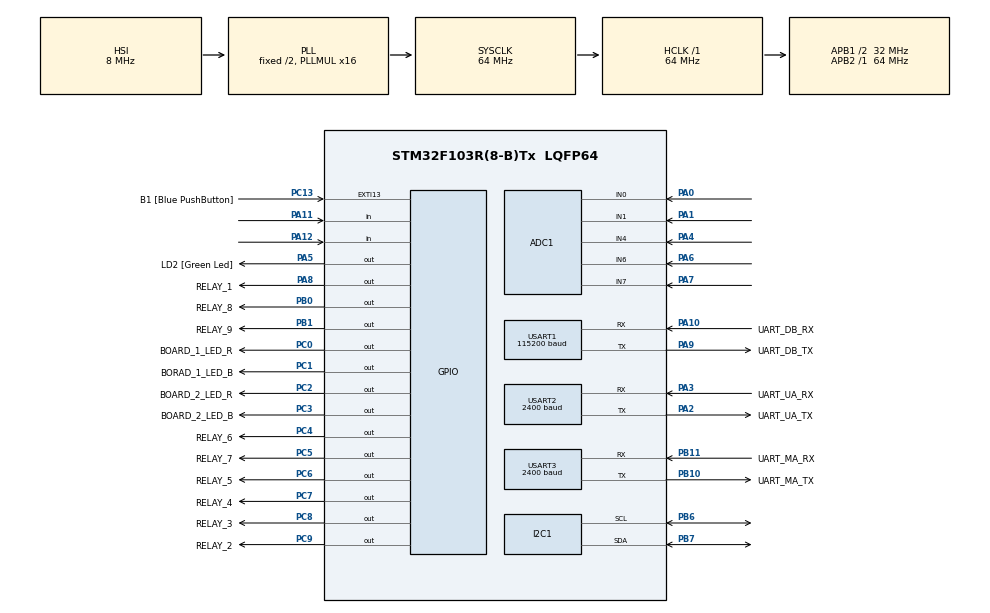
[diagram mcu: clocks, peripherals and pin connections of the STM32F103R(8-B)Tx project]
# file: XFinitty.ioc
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ADC1.Channel-0\#ChannelRegularConversion=ADC_CHANNEL_0
ADC1.Channel-5\#ChannelRegularConversion=ADC_CHANNEL_1
ADC1.Channel-6\#ChannelRegularConversion=ADC_CHANNEL_TEMPSENSOR
ADC1.Channel-7\#ChannelRegularConversion=ADC_CHANNEL_VREFINT
ADC1.ContinuousConvMode=DISABLE
ADC1.DataAlign=ADC_DATAALIGN_RIGHT
ADC1.DiscontinuousConvMode=DISABLE
ADC1.EnableAnalogWatchDog=false
ADC1.EnableRegularConversion=ENABLE
ADC1.ExternalTrigConv=ADC_SOFTWARE_START
ADC1.InjNumberOfConversion=0
ADC1.NbrOfConversion=4
ADC1.NbrOfConversionFlag=1
ADC1.Rank-0\#ChannelRegularConversion=1
ADC1.Rank-5\#ChannelRegularConversion=2
ADC1.Rank-6\#ChannelRegularConversion=3
ADC1.Rank-7\#ChannelRegularConversion=4
ADC1.SamplingTime-0\#ChannelRegularConversion=ADC_SAMPLETIME_7CYCLES_5
ADC1.SamplingTime-5\#ChannelRegularConversion=ADC_SAMPLETIME_7CYCLES_5
ADC1.SamplingTime-6\#ChannelRegularConversion=ADC_SAMPLETIME_7CYCLES_5
ADC1.SamplingTime-7\#ChannelRegularConversion=ADC_SAMPLETIME_7CYCLES_5
ADC1.ScanConvMode=ADC_SCAN_ENABLE
ADC1.master=1
Dma.ADC1.1.Direction=DMA_PERIPH_TO_MEMORY
Dma.ADC1.1.Instance=DMA1_Channel1
Dma.ADC1.1.MemDataAlignment=DMA_MDATAALIGN_HALFWORD
Dma.ADC1.1.MemInc=DMA_MINC_ENABLE
Dma.ADC1.1.Mode=DMA_NORMAL
Dma.ADC1.1.PeriphDataAlignment=DMA_PDATAALIGN_HALFWORD
Dma.ADC1.1.PeriphInc=DMA_PINC_DISABLE
Dma.ADC1.1.Priority=DMA_PRIORITY_LOW
Dma.Request0=USART1_TX
Dma.Request1=ADC1
Dma.Request2=USART3_RX
Dma.Request3=USART2_RX
Dma.USART1_TX.0.Direction=DMA_MEMORY_TO_PERIPH
Dma.USART1_TX.0.Instance=DMA1_Channel4
Dma.USART1_TX.0.MemDataAlignment=DMA_MDATAALIGN_BYTE
Dma.USART1_TX.0.MemInc=DMA_MINC_ENABLE
Dma.USART1_TX.0.Mode=DMA_NORMAL
Dma.USART1_TX.0.PeriphDataAlignment=DMA_PDATAALIGN_BYTE
Dma.USART1_TX.0.PeriphInc=DMA_PINC_DISABLE
Dma.USART1_TX.0.Priority=DMA_PRIORITY_LOW
Dma.USART2_RX.3.Direction=DMA_PERIPH_TO_MEMORY
Dma.USART2_RX.3.Instance=DMA1_Channel6
Dma.USART2_RX.3.MemDataAlignment=DMA_MDATAALIGN_BYTE
Dma.USART2_RX.3.MemInc=DMA_MINC_ENABLE
Dma.USART2_RX.3.Mode=DMA_NORMAL
Dma.USART2_RX.3.PeriphDataAlignment=DMA_PDATAALIGN_BYTE
Dma.USART2_RX.3.PeriphInc=DMA_PINC_DISABLE
Dma.USART2_RX.3.Priority=DMA_PRIORITY_LOW
Dma.USART3_RX.2.Direction=DMA_PERIPH_TO_MEMORY
Dma.USART3_RX.2.Instance=DMA1_Channel3
Dma.USART3_RX.2.MemDataAlignment=DMA_MDATAALIGN_BYTE
Dma.USART3_RX.2.MemInc=DMA_MINC_ENABLE
Dma.USART3_RX.2.Mode=DMA_NORMAL
Dma.USART3_RX.2.PeriphDataAlignment=DMA_PDATAALIGN_BYTE
Dma.USART3_RX.2.PeriphInc=DMA_PINC_DISABLE
Dma.USART3_RX.2.Priority=DMA_PRIORITY_LOW
FREERTOS.INCLUDE_vTaskDelayUntil=1
FREERTOS.Tasks01=defaultTask,-2,128,StartDefaultTask,Default,NULL,Dynamic,NULL,NULL;GetLightTask,0,128,StartGetLightTask,Default,NULL,Dynamic,NULL,NULL;PrintfTask,0,128,StartPrintfTask,Default,NULL,Dynamic,NULL,NULL;GetAdcTask,0,128,StartGetAdcTask,Default,NULL,Dynamic,NULL,NULL
FREERTOS.Timers01=LedFlashing,LedFlashingCallbac,osTimerPeriodic,Default,NULL,Dynamic,NULL;S1Delay,S1DelayCallback,osTimerOnce,Default,NULL,Dynamic,NULL
FREERTOS.configTOTAL_HEAP_SIZE=10000
FREERTOS.configUSE_TIMERS=1
Mcu.Family=STM32F1
Mcu.Name=STM32F103R(8-B)Tx
Mcu.Package=LQFP64
NVIC.ADC1_2_IRQn=true\:10\:0\:true\:false\:true\:true\:true
NVIC.DMA1_Channel1_IRQn=true\:8\:0\:true\:false\:true\:true\:false
NVIC.DMA1_Channel3_IRQn=true\:5\:0\:false\:false\:true\:true\:false
NVIC.DMA1_Channel4_IRQn=true\:8\:0\:true\:false\:true\:true\:false
NVIC.DMA1_Channel6_IRQn=true\:5\:0\:false\:false\:true\:true\:false
NVIC.EXTI15_10_IRQn=true\:5\:0\:false\:false\:true\:true\:true
NVIC.I2C1_ER_IRQn=true\:10\:0\:true\:false\:true\:true\:true
NVIC.I2C1_EV_IRQn=true\:10\:0\:true\:false\:true\:true\:true
NVIC.PriorityGroup=NVIC_PRIORITYGROUP_4
NVIC.TIM1_UP_IRQn=true\:0\:0\:false\:false\:true\:false\:false
NVIC.TimeBase=TIM1_UP_IRQn
NVIC.TimeBaseIP=TIM1
NVIC.USART1_IRQn=true\:12\:0\:true\:false\:true\:true\:true
NVIC.USART2_IRQn=true\:5\:0\:false\:false\:true\:true\:true
NVIC.USART3_IRQn=true\:5\:0\:false\:false\:true\:true\:true
PA0-WKUP.Signal=ADCx_IN0
PA1.Signal=ADCx_IN1
PA10.GPIO_Label=UART_DB_RX
PA10.Mode=Asynchronous
PA10.Signal=USART1_RX
PA11.Signal=GPIO_Input
PA12.Signal=GPIO_Input
PA13.GPIO_Label=TMS
PA13.Mode=Trace_Asynchronous_SW
PA13.Signal=SYS_JTMS-SWDIO
PA14.GPIO_Label=TCK
PA14.Mode=Trace_Asynchronous_SW
PA14.Signal=SYS_JTCK-SWCLK
PA2.GPIO_Label=UART_UA_TX
PA2.GPIO_Mode=GPIO_MODE_AF_PP
PA2.GPIO_PuPd=GPIO_NOPULL
PA2.GPIO_Speed=GPIO_SPEED_FREQ_HIGH
PA2.Mode=Asynchronous
PA2.Signal=USART2_TX
PA3.GPIO_Label=UART_UA_RX
PA3.GPIO_Mode=GPIO_MODE_INPUT
PA3.GPIO_PuPd=GPIO_NOPULL
PA3.GPIO_Speed=GPIO_SPEED_FREQ_LOW
PA3.Mode=Asynchronous
PA3.Signal=USART2_RX
PA4.Signal=ADCx_IN4
PA5.GPIO_Label=LD2 [Green Led]
PA5.GPIO_ModeDefaultOutputPP=GPIO_MODE_OUTPUT_PP
PA5.GPIO_PuPd=GPIO_NOPULL
PA5.GPIO_Speed=GPIO_SPEED_FREQ_LOW
PA5.Signal=GPIO_Output
PA6.Signal=ADCx_IN6
PA7.Signal=ADCx_IN7
PA8.GPIO_Label=RELAY_1
PA8.Signal=GPIO_Output
PA9.GPIO_Label=UART_DB_TX
PA9.Mode=Asynchronous
PA9.Signal=USART1_TX
PB0.GPIO_Label=RELAY_8
PB0.Signal=GPIO_Output
PB1.GPIO_Label=RELAY_9
PB1.Signal=GPIO_Output
PB10.GPIO_Label=UART_MA_TX
PB10.Mode=Asynchronous
PB10.Signal=USART3_TX
PB11.GPIO_Label=UART_MA_RX
PB11.Mode=Asynchronous
PB11.Signal=USART3_RX
PB3.GPIO_Label=SWO
PB3.Mode=Trace_Asynchronous_SW
PB3.Signal=SYS_JTDO-TRACESWO
PB6.Mode=I2C
PB6.Signal=I2C1_SCL
PB7.Mode=I2C
PB7.Signal=I2C1_SDA
PC0.GPIO_Label=BOARD_1_LED_R
PC0.GPIO_PuPd=GPIO_NOPULL
PC0.PinState=GPIO_PIN_SET
PC0.Signal=GPIO_Output
PC1.GPIO_Label=BORAD_1_LED_B
PC1.GPIO_PuPd=GPIO_NOPULL
PC1.PinState=GPIO_PIN_SET
PC1.Signal=GPIO_Output
PC13-TAMPER-RTC.GPIO_Label=B1 [Blue PushButton]
PC13-TAMPER-RTC.GPIO_PuPd=GPIO_NOPULL
PC13-TAMPER-RTC.Signal=GPXTI13
PC14-OSC32_IN.Mode=LSE-External-Oscillator
PC14-OSC32_IN.Signal=RCC_OSC32_IN
PC15-OSC32_OUT.Mode=LSE-External-Oscillator
PC15-OSC32_OUT.Signal=RCC_OSC32_OUT
PC2.GPIO_Label=BOARD_2_LED_R
PC2.GPIO_PuPd=GPIO_NOPULL
PC2.PinState=GPIO_PIN_SET
PC2.Signal=GPIO_Output
PC3.GPIO_Label=BOARD_2_LED_B
PC3.GPIO_PuPd=GPIO_NOPULL
PC3.PinState=GPIO_PIN_SET
PC3.Signal=GPIO_Output
PC4.GPIO_Label=RELAY_6
PC4.Signal=GPIO_Output
PC5.GPIO_Label=RELAY_7
PC5.Signal=GPIO_Output
PC6.GPIO_Label=RELAY_5
PC6.Signal=GPIO_Output
PC7.GPIO_Label=RELAY_4
PC7.Signal=GPIO_Output
PC8.GPIO_Label=RELAY_3
PC8.Signal=GPIO_Output
PC9.GPIO_Label=RELAY_2
PC9.Signal=GPIO_Output
PD0-OSC_IN.Mode=HSE-External-Clock-Source
PD0-OSC_IN.Signal=RCC_OSC_IN
PD1-OSC_OUT.Mode=HSE-External-Clock-Source
PD1-OSC_OUT.Signal=RCC_OSC_OUT
ProjectManager.HeapSize=0x200
ProjectManager.StackSize=0x400
ProjectManager.TargetToolchain=TrueSTUDIO
RCC.ADCPresc=RCC_ADCPCLK2_DIV8
RCC.AHBFreq_Value=64000000
RCC.APB1CLKDivider=RCC_HCLK_DIV2
RCC.APB1Freq_Value=32000000
RCC.APB1TimFreq_Value=64000000
RCC.APB2Freq_Value=64000000
RCC.APB2TimFreq_Value=64000000
RCC.HCLKFreq_Value=64000000
RCC.PLLMUL=RCC_PLL_MUL16
RCC.RTCClockSelection=RCC_RTCCLKSOURCE_LSE
RCC.SYSCLKFreq_VALUE=64000000
RCC.SYSCLKSource=RCC_SYSCLKSOURCE_PLLCLK
RCC.USBFreq_Value=64000000
SH.ADCx_IN0.0=ADC1_IN0,IN0
SH.ADCx_IN1.0=ADC1_IN1,IN1
SH.ADCx_IN4.0=ADC1_IN4,IN4
SH.ADCx_IN6.0=ADC1_IN6,IN6
SH.ADCx_IN7.0=ADC1_IN7,IN7
USART1.BaudRate=115200
USART1.VirtualMode=VM_ASYNC
USART2.BaudRate=2400
USART2.Mode=MODE_TX_RX
USART2.VirtualMode=VM_ASYNC
USART3.BaudRate=2400
USART3.Mode=MODE_TX_RX
USART3.VirtualMode=VM_ASYNC
VP_ADC1_TempSens_Input.Mode=IN-TempSens
VP_ADC1_Vref_Input.Mode=IN-Vrefint
VP_FREERTOS_VS_ENABLE.Mode=Enabled
VP_SYS_VS_tim1.Mode=TIM1
board=NUCLEO-F103RB

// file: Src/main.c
/**
  ******************************************************************************
  * @file           : main.c
  * @brief          : Main program body
  ******************************************************************************
  * This notice applies to any and all portions of this file
  * that are not between comment pairs USER CODE BEGIN and
  * USER CODE END. Other portions of this file, whether
  * inserted by the user or by software development tools
  * are owned by their respective copyright owners.
  *
  * Copyright (c) 2018 STMicroelectronics International N.V.
  * All rights reserved.
  *
  * Redistribution and use in source and binary forms, with or without
  * modification, are permitted, provided that the following conditions are met:
  *
  * 1. Redistribution of source code must retain the above copyright notice,
  *    this list of conditions and the following disclaimer.
  * 2. Redistributions in binary form must reproduce the above copyright notice,
  *    this list of conditions and the following disclaimer in the documentation
  *    and/or other materials provided with the distribution.
  * 3. Neither the name of STMicroelectronics nor the names of other
  *    contributors to this software may be used to endorse or promote products
  *    derived from this software without specific written permission.
  * 4. This software, including modifications and/or derivative works of this
  *    software, must execute solely and exclusively on microcontroller or
  *    microprocessor devices manufactured by or for STMicroelectronics.
  * 5. Redistribution and use of this software other than as permitted under
  *    this license is void and will automatically terminate your rights under
  *    this license.
  *
  * THIS SOFTWARE IS PROVIDED BY STMICROELECTRONICS AND CONTRIBUTORS "AS IS"
  * AND ANY EXPRESS, IMPLIED OR STATUTORY WARRANTIES, INCLUDING, BUT NOT
  * LIMITED TO, THE IMPLIED WARRANTIES OF MERCHANTABILITY, FITNESS FOR A
  * PARTICULAR PURPOSE AND NON-INFRINGEMENT OF THIRD PARTY INTELLECTUAL PROPERTY
  * RIGHTS ARE DISCLAIMED TO THE FULLEST EXTENT PERMITTED BY LAW. IN NO EVENT
  * SHALL STMICROELECTRONICS OR CONTRIBUTORS BE LIABLE FOR ANY DIRECT, INDIRECT,
  * INCIDENTAL, SPECIAL, EXEMPLARY, OR CONSEQUENTIAL DAMAGES (INCLUDING, BUT NOT
  * LIMITED TO, PROCUREMENT OF SUBSTITUTE GOODS OR SERVICES; LOSS OF USE, DATA,
  * OR PROFITS; OR BUSINESS INTERRUPTION) HOWEVER CAUSED AND ON ANY THEORY OF
  * LIABILITY, WHETHER IN CONTRACT, STRICT LIABILITY, OR TORT (INCLUDING
  * NEGLIGENCE OR OTHERWISE) ARISING IN ANY WAY OUT OF THE USE OF THIS SOFTWARE,
  * EVEN IF ADVISED OF THE POSSIBILITY OF SUCH DAMAGE.
  *
  ******************************************************************************
  */
#include "main.h"
#include "stm32f1xx_hal.h"
#include "cmsis_os.h"

/* USER CODE BEGIN Includes */
#include "ut61c.h"
#include "xfinitty.h"
#include "bsp.h"
#include "tsl2561.h"
#include "adc_led.h"
#include "indicator.h"

/* USER CODE END Includes */

ADC_HandleTypeDef hadc1;
DMA_HandleTypeDef hdma_adc1;

I2C_HandleTypeDef hi2c1;

UART_HandleTypeDef huart1;
UART_HandleTypeDef huart2;
UART_HandleTypeDef huart3;
DMA_HandleTypeDef hdma_usart1_tx;
DMA_HandleTypeDef hdma_usart2_rx;
DMA_HandleTypeDef hdma_usart3_rx;

osThreadId defaultTaskHandle;
osThreadId GetLightTaskHandle;
osThreadId PrintfTaskHandle;
osThreadId GetAdcTaskHandle;
osTimerId LedFlashingHandle;
osTimerId S1DelayHandle;

/* USER CODE BEGIN PV */
/* Private variables ---------------------------------------------------------*/

/* USER CODE END PV */

void SystemClock_Config(void);
static void MX_GPIO_Init(void);
static void MX_DMA_Init(void);
static void MX_ADC1_Init(void);
static void MX_I2C1_Init(void);
static void MX_USART1_UART_Init(void);
static void MX_USART2_UART_Init(void);
static void MX_USART3_UART_Init(void);
void StartDefaultTask(void const * argument);
void StartGetLightTask(void const * argument);
void StartPrintfTask(void const * argument);
void StartGetAdcTask(void const * argument);
void LedFlashingCallbac(void const * argument);
void S1DelayCallback(void const * argument);

/* USER CODE BEGIN PFP */
/* Private function prototypes -----------------------------------------------*/

/* USER CODE END PFP */

int main(void)
{

  /* MCU Configuration----------------------------------------------------------*/

  /* Reset of all peripherals, Initializes the Flash interface and the Systick. */
  HAL_Init();

  /* Configure the system clock */
  SystemClock_Config();

  /* Initialize all configured peripherals */
  MX_GPIO_Init();
  MX_DMA_Init();
  MX_ADC1_Init();
  MX_I2C1_Init();
  MX_USART1_UART_Init();
  MX_USART2_UART_Init();
  MX_USART3_UART_Init();
  /* USER CODE BEGIN 2 */
//  led_t *led_board1;
//  led_board1 = GetBoard1Led();
//  uint8_t temp2, temp3;
  InitXFinitty();
  InitUT61C();
  InitLeds();
  InitTSL2561();
  InitAdcLed();
  printf("System start.\n");
  // HAL_UART_Receive_IT(&huart2, &temp2, 1);
  // HAL_UART_Receive_IT(&huart3, &temp3, 1);

  // uint8_t sendingData[] = "uart2";
  // HAL_UART_Transmit_DMA(&huart2, sendingData, 6);
  // uint8_t sendingData2[] = "uart3";
  // HAL_UART_Transmit(&huart3, sendingData2, 6, 0xffffffff);
  /* USER CODE END 2 */

  /* Create the timer(s) */
  /* definition and creation of LedFlashing */
  osTimerDef(LedFlashing, LedFlashingCallbac);
  LedFlashingHandle = osTimerCreate(osTimer(LedFlashing), osTimerPeriodic, NULL);

  /* definition and creation of S1Delay */
  osTimerDef(S1Delay, S1DelayCallback);
  S1DelayHandle = osTimerCreate(osTimer(S1Delay), osTimerOnce, NULL);

  /* Create the thread(s) */
  /* definition and creation of defaultTask */
  osThreadDef(defaultTask, StartDefaultTask, osPriorityLow, 0, 128);
  defaultTaskHandle = osThreadCreate(osThread(defaultTask), NULL);

  /* definition and creation of GetLightTask */
  osThreadDef(GetLightTask, StartGetLightTask, osPriorityNormal, 0, 128);
  GetLightTaskHandle = osThreadCreate(osThread(GetLightTask), NULL);

  /* definition and creation of PrintfTask */
  osThreadDef(PrintfTask, StartPrintfTask, osPriorityNormal, 0, 128);
  PrintfTaskHandle = osThreadCreate(osThread(PrintfTask), NULL);

  /* definition and creation of GetAdcTask */
  osThreadDef(GetAdcTask, StartGetAdcTask, osPriorityNormal, 0, 128);
  GetAdcTaskHandle = osThreadCreate(osThread(GetAdcTask), NULL);

  /* Start scheduler */
  osKernelStart();

  /* We should never get here as control is now taken by the scheduler */

  /* Infinite loop */
  while (1)
  {

  }

}

void SystemClock_Config(void)
{

  RCC_OscInitTypeDef RCC_OscInitStruct;
  RCC_ClkInitTypeDef RCC_ClkInitStruct;
  RCC_PeriphCLKInitTypeDef PeriphClkInit;

    /**Initializes the CPU, AHB and APB busses clocks
    */
  RCC_OscInitStruct.OscillatorType = RCC_OSCILLATORTYPE_HSI;
  RCC_OscInitStruct.HSIState = RCC_HSI_ON;
  RCC_OscInitStruct.HSICalibrationValue = 16;
  RCC_OscInitStruct.PLL.PLLState = RCC_PLL_ON;
  RCC_OscInitStruct.PLL.PLLSource = RCC_PLLSOURCE_HSI_DIV2;
  RCC_OscInitStruct.PLL.PLLMUL = RCC_PLL_MUL16;
  if (HAL_RCC_OscConfig(&RCC_OscInitStruct) != HAL_OK)
  {
    _Error_Handler(__FILE__, __LINE__);
  }

    /**Initializes the CPU, AHB and APB busses clocks
    */
  RCC_ClkInitStruct.ClockType = RCC_CLOCKTYPE_HCLK|RCC_CLOCKTYPE_SYSCLK
                              |RCC_CLOCKTYPE_PCLK1|RCC_CLOCKTYPE_PCLK2;
  RCC_ClkInitStruct.SYSCLKSource = RCC_SYSCLKSOURCE_PLLCLK;
  RCC_ClkInitStruct.AHBCLKDivider = RCC_SYSCLK_DIV1;
  RCC_ClkInitStruct.APB1CLKDivider = RCC_HCLK_DIV2;
  RCC_ClkInitStruct.APB2CLKDivider = RCC_HCLK_DIV1;

  if (HAL_RCC_ClockConfig(&RCC_ClkInitStruct, FLASH_LATENCY_2) != HAL_OK)
  {
    _Error_Handler(__FILE__, __LINE__);
  }

  PeriphClkInit.PeriphClockSelection = RCC_PERIPHCLK_ADC;
  PeriphClkInit.AdcClockSelection = RCC_ADCPCLK2_DIV8;
  if (HAL_RCCEx_PeriphCLKConfig(&PeriphClkInit) != HAL_OK)
  {
    _Error_Handler(__FILE__, __LINE__);
  }

    /**Configure the Systick interrupt time
    */
  HAL_SYSTICK_Config(HAL_RCC_GetHCLKFreq()/1000);

    /**Configure the Systick
    */
  HAL_SYSTICK_CLKSourceConfig(SYSTICK_CLKSOURCE_HCLK);

  /* SysTick_IRQn interrupt configuration */
  HAL_NVIC_SetPriority(SysTick_IRQn, 15, 0);
}

/* ADC1 init function */
static void MX_ADC1_Init(void)
{

  ADC_ChannelConfTypeDef sConfig;

    /**Common config
    */
  hadc1.Instance = ADC1;
  hadc1.Init.ScanConvMode = ADC_SCAN_ENABLE;
  hadc1.Init.ContinuousConvMode = DISABLE;
  hadc1.Init.DiscontinuousConvMode = DISABLE;
  hadc1.Init.ExternalTrigConv = ADC_SOFTWARE_START;
  hadc1.Init.DataAlign = ADC_DATAALIGN_RIGHT;
  hadc1.Init.NbrOfConversion = 4;
  if (HAL_ADC_Init(&hadc1) != HAL_OK)
  {
    _Error_Handler(__FILE__, __LINE__);
  }

    /**Configure Regular Channel
    */
  sConfig.Channel = ADC_CHANNEL_0;
  sConfig.Rank = ADC_REGULAR_RANK_1;
  sConfig.SamplingTime = ADC_SAMPLETIME_7CYCLES_5;
  if (HAL_ADC_ConfigChannel(&hadc1, &sConfig) != HAL_OK)
  {
    _Error_Handler(__FILE__, __LINE__);
  }

    /**Configure Regular Channel
    */
  sConfig.Channel = ADC_CHANNEL_1;
  sConfig.Rank = ADC_REGULAR_RANK_2;
  if (HAL_ADC_ConfigChannel(&hadc1, &sConfig) != HAL_OK)
  {
    _Error_Handler(__FILE__, __LINE__);
  }

    /**Configure Regular Channel
    */
  sConfig.Channel = ADC_CHANNEL_TEMPSENSOR;
  sConfig.Rank = ADC_REGULAR_RANK_3;
  if (HAL_ADC_ConfigChannel(&hadc1, &sConfig) != HAL_OK)
  {
    _Error_Handler(__FILE__, __LINE__);
  }

    /**Configure Regular Channel
    */
  sConfig.Channel = ADC_CHANNEL_VREFINT;
  sConfig.Rank = ADC_REGULAR_RANK_4;
  if (HAL_ADC_ConfigChannel(&hadc1, &sConfig) != HAL_OK)
  {
    _Error_Handler(__FILE__, __LINE__);
  }

}

/* I2C1 init function */
static void MX_I2C1_Init(void)
{

  hi2c1.Instance = I2C1;
  hi2c1.Init.ClockSpeed = 100000;
  hi2c1.Init.DutyCycle = I2C_DUTYCYCLE_2;
  hi2c1.Init.OwnAddress1 = 0;
  hi2c1.Init.AddressingMode = I2C_ADDRESSINGMODE_7BIT;
  hi2c1.Init.DualAddressMode = I2C_DUALADDRESS_DISABLE;
  hi2c1.Init.OwnAddress2 = 0;
  hi2c1.Init.GeneralCallMode = I2C_GENERALCALL_DISABLE;
  hi2c1.Init.NoStretchMode = I2C_NOSTRETCH_DISABLE;
  if (HAL_I2C_Init(&hi2c1) != HAL_OK)
  {
    _Error_Handler(__FILE__, __LINE__);
  }

}

/* USART1 init function */
static void MX_USART1_UART_Init(void)
{

  huart1.Instance = USART1;
  huart1.Init.BaudRate = 115200;
  huart1.Init.WordLength = UART_WORDLENGTH_8B;
  huart1.Init.StopBits = UART_STOPBITS_1;
  huart1.Init.Parity = UART_PARITY_NONE;
  huart1.Init.Mode = UART_MODE_TX_RX;
  huart1.Init.HwFlowCtl = UART_HWCONTROL_NONE;
  huart1.Init.OverSampling = UART_OVERSAMPLING_16;
  if (HAL_UART_Init(&huart1) != HAL_OK)
  {
    _Error_Handler(__FILE__, __LINE__);
  }

}

/* USART2 init function */
static void MX_USART2_UART_Init(void)
{

  huart2.Instance = USART2;
  huart2.Init.BaudRate = 2400;
  huart2.Init.WordLength = UART_WORDLENGTH_8B;
  huart2.Init.StopBits = UART_STOPBITS_1;
  huart2.Init.Parity = UART_PARITY_NONE;
  huart2.Init.Mode = UART_MODE_TX_RX;
  huart2.Init.HwFlowCtl = UART_HWCONTROL_NONE;
  huart2.Init.OverSampling = UART_OVERSAMPLING_16;
  if (HAL_UART_Init(&huart2) != HAL_OK)
  {
    _Error_Handler(__FILE__, __LINE__);
  }

}

/* USART3 init function */
static void MX_USART3_UART_Init(void)
{

  huart3.Instance = USART3;
  huart3.Init.BaudRate = 2400;
  huart3.Init.WordLength = UART_WORDLENGTH_8B;
  huart3.Init.StopBits = UART_STOPBITS_1;
  huart3.Init.Parity = UART_PARITY_NONE;
  huart3.Init.Mode = UART_MODE_TX_RX;
  huart3.Init.HwFlowCtl = UART_HWCONTROL_NONE;
  huart3.Init.OverSampling = UART_OVERSAMPLING_16;
  if (HAL_UART_Init(&huart3) != HAL_OK)
  {
    _Error_Handler(__FILE__, __LINE__);
  }

}

static void MX_DMA_Init(void)
{
  /* DMA controller clock enable */
  __HAL_RCC_DMA1_CLK_ENABLE();

  /* DMA interrupt init */
  /* DMA1_Channel1_IRQn interrupt configuration */
  HAL_NVIC_SetPriority(DMA1_Channel1_IRQn, 8, 0);
  HAL_NVIC_EnableIRQ(DMA1_Channel1_IRQn);
  /* DMA1_Channel3_IRQn interrupt configuration */
  HAL_NVIC_SetPriority(DMA1_Channel3_IRQn, 5, 0);
  HAL_NVIC_EnableIRQ(DMA1_Channel3_IRQn);
  /* DMA1_Channel4_IRQn interrupt configuration */
  HAL_NVIC_SetPriority(DMA1_Channel4_IRQn, 8, 0);
  HAL_NVIC_EnableIRQ(DMA1_Channel4_IRQn);
  /* DMA1_Channel6_IRQn interrupt configuration */
  HAL_NVIC_SetPriority(DMA1_Channel6_IRQn, 5, 0);
  HAL_NVIC_EnableIRQ(DMA1_Channel6_IRQn);

}

/** Configure pins as
        * Analog
        * Input
        * Output
        * EVENT_OUT
        * EXTI
*/
static void MX_GPIO_Init(void)
{

  GPIO_InitTypeDef GPIO_InitStruct;

  /* GPIO Ports Clock Enable */
  __HAL_RCC_GPIOC_CLK_ENABLE();
  __HAL_RCC_GPIOD_CLK_ENABLE();
  __HAL_RCC_GPIOA_CLK_ENABLE();
  __HAL_RCC_GPIOB_CLK_ENABLE();

  /*Configure GPIO pin Output Level */
  HAL_GPIO_WritePin(GPIOC, BOARD_1_LED_R_Pin|BORAD_1_LED_B_Pin|BOARD_2_LED_R_Pin|BOARD_2_LED_B_Pin, GPIO_PIN_SET);

  /*Configure GPIO pin Output Level */
  HAL_GPIO_WritePin(GPIOA, LD2_Pin|RELAY_1_Pin, GPIO_PIN_RESET);

  /*Configure GPIO pin Output Level */
  HAL_GPIO_WritePin(GPIOC, RELAY_6_Pin|RELAY_7_Pin|RELAY_5_Pin|RELAY_4_Pin
                          |RELAY_3_Pin|RELAY_2_Pin, GPIO_PIN_RESET);

  /*Configure GPIO pin Output Level */
  HAL_GPIO_WritePin(GPIOB, RELAY_8_Pin|RELAY_9_Pin, GPIO_PIN_RESET);

  /*Configure GPIO pin : B1_Pin */
  GPIO_InitStruct.Pin = B1_Pin;
  GPIO_InitStruct.Mode = GPIO_MODE_IT_RISING;
  GPIO_InitStruct.Pull = GPIO_NOPULL;
  HAL_GPIO_Init(B1_GPIO_Port, &GPIO_InitStruct);

  /*Configure GPIO pins : BOARD_1_LED_R_Pin BORAD_1_LED_B_Pin BOARD_2_LED_R_Pin BOARD_2_LED_B_Pin
                           RELAY_6_Pin RELAY_7_Pin RELAY_5_Pin RELAY_4_Pin
                           RELAY_3_Pin RELAY_2_Pin */
  GPIO_InitStruct.Pin = BOARD_1_LED_R_Pin|BORAD_1_LED_B_Pin|BOARD_2_LED_R_Pin|BOARD_2_LED_B_Pin
                          |RELAY_6_Pin|RELAY_7_Pin|RELAY_5_Pin|RELAY_4_Pin
                          |RELAY_3_Pin|RELAY_2_Pin;
  GPIO_InitStruct.Mode = GPIO_MODE_OUTPUT_PP;
  GPIO_InitStruct.Pull = GPIO_NOPULL;
  GPIO_InitStruct.Speed = GPIO_SPEED_FREQ_LOW;
  HAL_GPIO_Init(GPIOC, &GPIO_InitStruct);

  /*Configure GPIO pins : LD2_Pin RELAY_1_Pin */
  GPIO_InitStruct.Pin = LD2_Pin|RELAY_1_Pin;
  GPIO_InitStruct.Mode = GPIO_MODE_OUTPUT_PP;
  GPIO_InitStruct.Pull = GPIO_NOPULL;
  GPIO_InitStruct.Speed = GPIO_SPEED_FREQ_LOW;
  HAL_GPIO_Init(GPIOA, &GPIO_InitStruct);

  /*Configure GPIO pins : RELAY_8_Pin RELAY_9_Pin */
  GPIO_InitStruct.Pin = RELAY_8_Pin|RELAY_9_Pin;
  GPIO_InitStruct.Mode = GPIO_MODE_OUTPUT_PP;
  GPIO_InitStruct.Pull = GPIO_NOPULL;
  GPIO_InitStruct.Speed = GPIO_SPEED_FREQ_LOW;
  HAL_GPIO_Init(GPIOB, &GPIO_InitStruct);

  /*Configure GPIO pins : PA11 PA12 */
  GPIO_InitStruct.Pin = GPIO_PIN_11|GPIO_PIN_12;
  GPIO_InitStruct.Mode = GPIO_MODE_INPUT;
  GPIO_InitStruct.Pull = GPIO_NOPULL;
  HAL_GPIO_Init(GPIOA, &GPIO_InitStruct);

  /* EXTI interrupt init*/
  HAL_NVIC_SetPriority(EXTI15_10_IRQn, 5, 0);
  HAL_NVIC_EnableIRQ(EXTI15_10_IRQn);

}

/* StartDefaultTask function */
void StartDefaultTask(void const * argument)
{

  /* USER CODE BEGIN 5 */
  // EnableAdcFetching();
  // EnableLedMinusTest();
  /* Infinite loop */
  for(;;)
  {
    // TestRelay();
//    HAL_UART_Receive_IT();
    // PressS1();
  //  TestLeds();
	  TestSequence();

    // TestTSL2561();
    // GetHighByteLight();
    // TestUT61();
    //  osDelay(5000);
  }
  /* USER CODE END 5 */
}

/* StartGetLightTask function */
void StartGetLightTask(void const * argument)
{
  /* USER CODE BEGIN StartGetLightTask */
  uint32_t PreviousWakeTime = osKernelSysTick();
  /* Infinite loop */
  for(;;)
  {
    if (isEnableFetchingLight()){
      WriteLight();
    }

    osDelayUntil(&PreviousWakeTime, 50);
  }
  /* USER CODE END StartGetLightTask */
}

/* StartPrintfTask function */
void StartPrintfTask(void const * argument)
{
  /* USER CODE BEGIN StartPrintfTask */
//  uint8_t light = 0;
//  uint8_t value_adc = 0;
  /* Infinite loop */
  for(;;)
  {
    // ClearAllLightData();
    // printf("Channel 0: ");
    // while (ReadAdcData(0, &value_adc) == 0){
    //   printf("%d  ", value_adc);
    // }
    // printf("\n");
    // printf("Channel 1: ");
    // while (ReadAdcData(1, &value_adc) == 0){
    //   printf("%d  ", value_adc);
    // }
    // printf("\n");
    // printf("t  sensor: ");
    // while (ReadAdcData(2, &value_adc) == 0){
    //   printf("%d  ", value_adc);
    // }
    // printf("\n");
    // printf("vrefint  : ");
    // while (ReadAdcData(3, &value_adc) == 0){
    //   printf("%d  ", value_adc);
    // }
    // printf("\n");
    // printf("\n");
    osDelay(1000);
  }
  /* USER CODE END StartPrintfTask */
}

/* StartGetAdcTask function */
void StartGetAdcTask(void const * argument)
{
  /* USER CODE BEGIN StartGetAdcTask */
  uint32_t PreviousWakeTime = osKernelSysTick();
  /* Infinite loop */
  for(;;)
  {
    /// get adc data
    WriteAdcData();
    osDelayUntil(&PreviousWakeTime, 100);
  }
  /* USER CODE END StartGetAdcTask */
}

/* LedFlashingCallbac function */
void LedFlashingCallbac(void const * argument)
{
  /* USER CODE BEGIN LedFlashingCallbac */
  CallbackForLed1Flashing();
  /* USER CODE END LedFlashingCallbac */
}

/* S1DelayCallback function */
void S1DelayCallback(void const * argument)
{
  /* USER CODE BEGIN S1DelayCallback */
  S1DelayCallback4User();
  /* USER CODE END S1DelayCallback */
}

void HAL_TIM_PeriodElapsedCallback(TIM_HandleTypeDef *htim)
{
  if (htim->Instance == TIM1) {
    HAL_IncTick();
  }
}

void _Error_Handler(char *file, int line)
{
  while(1)
  {
  }
}

/************************ (C) COPYRIGHT STMicroelectronics *****END OF FILE****/
